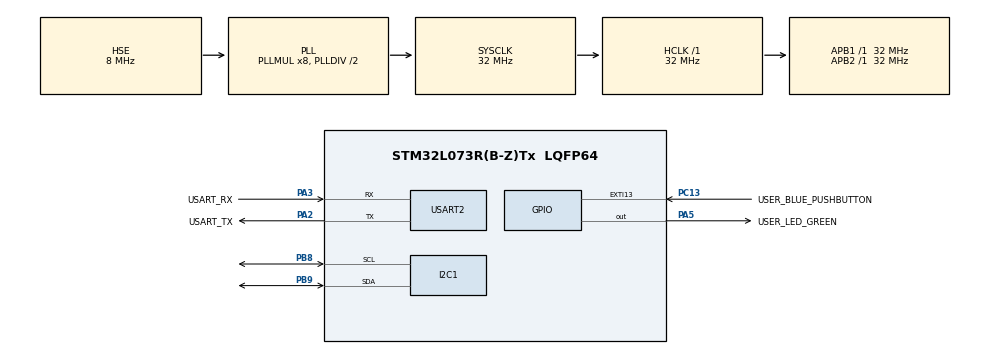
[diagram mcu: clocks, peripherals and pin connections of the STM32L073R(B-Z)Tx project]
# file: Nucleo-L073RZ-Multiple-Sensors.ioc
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I2C1.Timing=0x00707CBB
Mcu.Family=STM32L0
Mcu.Name=STM32L073R(B-Z)Tx
Mcu.Package=LQFP64
NVIC.EXTI4_15_IRQn=true\:0\:0\:false\:false\:true\:true\:true\:true
NVIC.TIM6_DAC_IRQn=true\:0\:0\:false\:false\:true\:true\:true\:true
PA13.GPIO_Label=TMS
PA13.Mode=Serial_Wire
PA13.Signal=SYS_SWDIO
PA14.GPIO_Label=TCK
PA14.Mode=Serial_Wire
PA14.Signal=SYS_SWCLK
PA2.GPIO_Label=USART_TX
PA2.Mode=Asynchronous
PA2.Signal=USART2_TX
PA3.GPIO_Label=USART_RX
PA3.Mode=Asynchronous
PA3.Signal=USART2_RX
PA5.GPIO_Label=USER_LED_GREEN
PA5.Signal=GPIO_Output
PB8.Mode=I2C
PB8.Signal=I2C1_SCL
PB9.Mode=I2C
PB9.Signal=I2C1_SDA
PC13.GPIO_Label=USER_BLUE_PUSHBUTTON
PC13.GPIO_ModeDefaultEXTI=GPIO_MODE_IT_FALLING
PC13.Signal=GPXTI13
PC14-OSC32_IN.Mode=LSE-External-Oscillator
PC14-OSC32_IN.Signal=RCC_OSC32_IN
PC15-OSC32_OUT.Mode=LSE-External-Oscillator
PC15-OSC32_OUT.Signal=RCC_OSC32_OUT
PH0-OSC_IN.GPIO_Label=MCO
PH0-OSC_IN.Mode=HSE-External-Clock-Source
PH0-OSC_IN.Signal=RCC_OSC_IN
ProjectManager.HeapSize=0x200
ProjectManager.StackSize=0x400
ProjectManager.TargetToolchain=STM32CubeIDE
RCC.AHBFreq_Value=32000000
RCC.APB1Freq_Value=32000000
RCC.APB1TimFreq_Value=32000000
RCC.APB2Freq_Value=32000000
RCC.APB2TimFreq_Value=32000000
RCC.HCLKFreq_Value=32000000
RCC.HSE_VALUE=8000000
RCC.HSI16_VALUE=16000000
RCC.HSI48_VALUE=48000000
RCC.HSI_VALUE=16000000
RCC.MSI_VALUE=2097000
RCC.PLLMUL=RCC_PLLMUL_8
RCC.PLLSourceVirtual=RCC_PLLSOURCE_HSE
RCC.SYSCLKFreq_VALUE=32000000
RCC.SYSCLKSource=RCC_SYSCLKSOURCE_PLLCLK
RCC.VCOOutputFreq_Value=64000000
TIM6.AutoReloadPreload=TIM_AUTORELOAD_PRELOAD_ENABLE
TIM6.Period=32000 - 1
TIM6.Prescaler=250 - 1
USART2.VirtualMode-Asynchronous=VM_ASYNC
VP_TIM6_VS_ClockSourceINT.Mode=Enable_Timer
board=NUCLEO-L073RZ

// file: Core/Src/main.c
/* USER CODE BEGIN Header */
/**
  ******************************************************************************
  * @file           : main.c
  * @brief          : Main program body
  ******************************************************************************
  * @attention
  *
  * Copyright (c) 2023 STMicroelectronics.
  * All rights reserved.
  *
  * This software is licensed under terms that can be found in the LICENSE file
  * in the root directory of this software component.
  * If no LICENSE file comes with this software, it is provided AS-IS.
  *
  ******************************************************************************
  */
/* USER CODE END Header */
#include "main.h"

/* USER CODE BEGIN Includes */
/*std libs*/
#include "stdbool.h"
#include "stdio.h"

/*refer https://github.com/afiskon/stm32-ssd1306*/
#include "ssd1306.h"
#include "ssd1306_fonts.h"

/*refer https://github.com/ciastkolog/BMP280_STM32*/
#include "bmp280.h"

/* USER CODE END Includes */

I2C_HandleTypeDef hi2c1;

TIM_HandleTypeDef htim6;

UART_HandleTypeDef huart2;

/* USER CODE BEGIN PV */
bool change_font = false;
bool enable_bmp280 = true;
bool update_screen_bmp280 = false;
/* USER CODE END PV */

void SystemClock_Config(void);
static void MX_GPIO_Init(void);
static void MX_USART2_UART_Init(void);
static void MX_I2C1_Init(void);
static void MX_TIM6_Init(void);

int main(void)
{
  /* USER CODE BEGIN 1 */
	char currentString[256] = "Hello World!";
	char retChar=0;
  /* USER CODE END 1 */

  /* MCU Configuration--------------------------------------------------------*/

  /* Reset of all peripherals, Initializes the Flash interface and the Systick. */
  HAL_Init();

  /* Configure the system clock */
  SystemClock_Config();

  /* Initialize all configured peripherals */
  MX_GPIO_Init();
  MX_USART2_UART_Init();
  MX_I2C1_Init();
  MX_TIM6_Init();
  /* USER CODE BEGIN 2 */
  /* Peripherals */
  HAL_TIM_Base_Start_IT(&htim6);

  /* BMP280 */
  BMP280_HandleTypedef bmp280_handle;
  bmp280_handle.i2c = &hi2c1;
  bmp280_handle.addr = BMP280_I2C_ADDRESS_0;

  bmp280_init_default_params(&bmp280_handle.params);
  bool bmp280_works = false;
  bmp280_works = bmp280_init(&bmp280_handle, &bmp280_handle.params);

  /*OLED*/
  ssd1306_Init();
//  ssd1306_Fill(White);
//  ssd1306_UpdateScreen();
  ssd1306_SetCursor(0, 0);
  retChar = ssd1306_WriteString("Please press the blue button!", Font_6x8, White);
  ssd1306_SetCursor(0, 8);
  retChar = ssd1306_WriteString("button!", Font_6x8, White);
  ssd1306_UpdateScreen();
  /* USER CODE END 2 */

  /* Infinite loop */
  /* USER CODE BEGIN WHILE */
  uint8_t a = 0;

  uint32_t humidity = 0;
  uint32_t temperature_celsius_times_100 = 0; 	// Temperature in degrees Celsius times 100.
  uint32_t pressure_pascal = 0; 				// Pressure in Pascals in fixed point 24 bit integer 8 bit fraction format.
  uint32_t humidity_old = 0;
  uint32_t temperature_celsius_times_100_old = 0; 	// Temperature in degrees Celsius times 100.
  uint32_t pressure_pascal_old = 0; 				// Pressure in Pascals in fixed point 24 bit integer 8 bit fraction format.
  uint32_t temperature_update_thresold = 0;
  uint32_t bmp280_measurements = 0;

  FontDef* current_font = &Font_16x24;
  while (1)
  {
	  HAL_GPIO_TogglePin(USER_LED_GREEN_GPIO_Port , USER_LED_GREEN_Pin);

	  if(change_font){
		  change_font = false;

		  ssd1306_SetCursor(0, 0);
		  ssd1306_Fill(Black);
		  switch (a++) {
				case 0:
					current_font = &Font_6x8;
					break;
				case 1:
					current_font = &Font_7x10;
					break;
				case 2:
					current_font = &Font_11x18;
					break;
				case 3:
					current_font = &Font_16x24;
					break;
				case 4:
					current_font = &Font_16x26;
					break;
				default:
					ssd1306_Fill(White);
					a=0;
					break;
			}
		  ssd1306_WriteString(currentString, *current_font, White);
		  ssd1306_UpdateScreen();
	  }

	  if(enable_bmp280){
		  if(! bmp280_is_measuring(&bmp280_handle)){
			  enable_bmp280 = false;

			  temperature_celsius_times_100_old = temperature_celsius_times_100;
			  bmp280_read_fixed(&bmp280_handle, &temperature_celsius_times_100, &pressure_pascal, &humidity);
			  bmp280_measurements++;

			  if((temperature_celsius_times_100 < temperature_celsius_times_100_old - temperature_update_thresold) || (temperature_celsius_times_100 > temperature_celsius_times_100_old + temperature_update_thresold)){
				  update_screen_bmp280 = true;
			  }
		  }
	  }

	  if(update_screen_bmp280){
		  //update_screen_bmp280 = false;
		  uint32_t integer = temperature_celsius_times_100 / 100;
		  uint32_t decimal = temperature_celsius_times_100 % 100;
		  sprintf(currentString, "%lu.%lu *C", integer, decimal);

		  ssd1306_SetCursor(0, 0);

		  retChar = ssd1306_WriteString(currentString, *current_font, White);
		  ssd1306_UpdateScreen();
	  }

    /* USER CODE END WHILE */

  }
}

void SystemClock_Config(void)
{
  RCC_OscInitTypeDef RCC_OscInitStruct = {0};
  RCC_ClkInitTypeDef RCC_ClkInitStruct = {0};
  RCC_PeriphCLKInitTypeDef PeriphClkInit = {0};

  /** Configure the main internal regulator output voltage
  */
  __HAL_PWR_VOLTAGESCALING_CONFIG(PWR_REGULATOR_VOLTAGE_SCALE1);

  /** Initializes the RCC Oscillators according to the specified parameters
  * in the RCC_OscInitTypeDef structure.
  */
  RCC_OscInitStruct.OscillatorType = RCC_OSCILLATORTYPE_HSE;
  RCC_OscInitStruct.HSEState = RCC_HSE_BYPASS;
  RCC_OscInitStruct.PLL.PLLState = RCC_PLL_ON;
  RCC_OscInitStruct.PLL.PLLSource = RCC_PLLSOURCE_HSE;
  RCC_OscInitStruct.PLL.PLLMUL = RCC_PLLMUL_8;
  RCC_OscInitStruct.PLL.PLLDIV = RCC_PLLDIV_2;
  if (HAL_RCC_OscConfig(&RCC_OscInitStruct) != HAL_OK)
  {
    Error_Handler();
  }

  /** Initializes the CPU, AHB and APB buses clocks
  */
  RCC_ClkInitStruct.ClockType = RCC_CLOCKTYPE_HCLK|RCC_CLOCKTYPE_SYSCLK
                              |RCC_CLOCKTYPE_PCLK1|RCC_CLOCKTYPE_PCLK2;
  RCC_ClkInitStruct.SYSCLKSource = RCC_SYSCLKSOURCE_PLLCLK;
  RCC_ClkInitStruct.AHBCLKDivider = RCC_SYSCLK_DIV1;
  RCC_ClkInitStruct.APB1CLKDivider = RCC_HCLK_DIV1;
  RCC_ClkInitStruct.APB2CLKDivider = RCC_HCLK_DIV1;

  if (HAL_RCC_ClockConfig(&RCC_ClkInitStruct, FLASH_LATENCY_1) != HAL_OK)
  {
    Error_Handler();
  }
  PeriphClkInit.PeriphClockSelection = RCC_PERIPHCLK_USART2|RCC_PERIPHCLK_I2C1;
  PeriphClkInit.Usart2ClockSelection = RCC_USART2CLKSOURCE_PCLK1;
  PeriphClkInit.I2c1ClockSelection = RCC_I2C1CLKSOURCE_PCLK1;
  if (HAL_RCCEx_PeriphCLKConfig(&PeriphClkInit) != HAL_OK)
  {
    Error_Handler();
  }
}

static void MX_I2C1_Init(void)
{

  hi2c1.Instance = I2C1;
  hi2c1.Init.Timing = 0x00707CBB;
  hi2c1.Init.OwnAddress1 = 0;
  hi2c1.Init.AddressingMode = I2C_ADDRESSINGMODE_7BIT;
  hi2c1.Init.DualAddressMode = I2C_DUALADDRESS_DISABLE;
  hi2c1.Init.OwnAddress2 = 0;
  hi2c1.Init.OwnAddress2Masks = I2C_OA2_NOMASK;
  hi2c1.Init.GeneralCallMode = I2C_GENERALCALL_DISABLE;
  hi2c1.Init.NoStretchMode = I2C_NOSTRETCH_DISABLE;
  if (HAL_I2C_Init(&hi2c1) != HAL_OK)
  {
    Error_Handler();
  }

  /** Configure Analogue filter
  */
  if (HAL_I2CEx_ConfigAnalogFilter(&hi2c1, I2C_ANALOGFILTER_ENABLE) != HAL_OK)
  {
    Error_Handler();
  }

  /** Configure Digital filter
  */
  if (HAL_I2CEx_ConfigDigitalFilter(&hi2c1, 0) != HAL_OK)
  {
    Error_Handler();
  }

}

static void MX_TIM6_Init(void)
{

  TIM_MasterConfigTypeDef sMasterConfig = {0};

  htim6.Instance = TIM6;
  htim6.Init.Prescaler = 250 - 1;
  htim6.Init.CounterMode = TIM_COUNTERMODE_UP;
  htim6.Init.Period = 32000 - 1;
  htim6.Init.AutoReloadPreload = TIM_AUTORELOAD_PRELOAD_ENABLE;
  if (HAL_TIM_Base_Init(&htim6) != HAL_OK)
  {
    Error_Handler();
  }
  sMasterConfig.MasterOutputTrigger = TIM_TRGO_RESET;
  sMasterConfig.MasterSlaveMode = TIM_MASTERSLAVEMODE_DISABLE;
  if (HAL_TIMEx_MasterConfigSynchronization(&htim6, &sMasterConfig) != HAL_OK)
  {
    Error_Handler();
  }

}

static void MX_USART2_UART_Init(void)
{

  huart2.Instance = USART2;
  huart2.Init.BaudRate = 115200;
  huart2.Init.WordLength = UART_WORDLENGTH_8B;
  huart2.Init.StopBits = UART_STOPBITS_1;
  huart2.Init.Parity = UART_PARITY_NONE;
  huart2.Init.Mode = UART_MODE_TX_RX;
  huart2.Init.HwFlowCtl = UART_HWCONTROL_NONE;
  huart2.Init.OverSampling = UART_OVERSAMPLING_16;
  huart2.Init.OneBitSampling = UART_ONE_BIT_SAMPLE_DISABLE;
  huart2.AdvancedInit.AdvFeatureInit = UART_ADVFEATURE_NO_INIT;
  if (HAL_UART_Init(&huart2) != HAL_OK)
  {
    Error_Handler();
  }

}

static void MX_GPIO_Init(void)
{
  GPIO_InitTypeDef GPIO_InitStruct = {0};

  /* GPIO Ports Clock Enable */
  __HAL_RCC_GPIOC_CLK_ENABLE();
  __HAL_RCC_GPIOH_CLK_ENABLE();
  __HAL_RCC_GPIOA_CLK_ENABLE();
  __HAL_RCC_GPIOB_CLK_ENABLE();

  /*Configure GPIO pin Output Level */
  HAL_GPIO_WritePin(USER_LED_GREEN_GPIO_Port, USER_LED_GREEN_Pin, GPIO_PIN_RESET);

  /*Configure GPIO pin : USER_BLUE_PUSHBUTTON_Pin */
  GPIO_InitStruct.Pin = USER_BLUE_PUSHBUTTON_Pin;
  GPIO_InitStruct.Mode = GPIO_MODE_IT_FALLING;
  GPIO_InitStruct.Pull = GPIO_NOPULL;
  HAL_GPIO_Init(USER_BLUE_PUSHBUTTON_GPIO_Port, &GPIO_InitStruct);

  /*Configure GPIO pin : USER_LED_GREEN_Pin */
  GPIO_InitStruct.Pin = USER_LED_GREEN_Pin;
  GPIO_InitStruct.Mode = GPIO_MODE_OUTPUT_PP;
  GPIO_InitStruct.Pull = GPIO_NOPULL;
  GPIO_InitStruct.Speed = GPIO_SPEED_FREQ_LOW;
  HAL_GPIO_Init(USER_LED_GREEN_GPIO_Port, &GPIO_InitStruct);

  /* EXTI interrupt init*/
  HAL_NVIC_SetPriority(EXTI4_15_IRQn, 0, 0);
  HAL_NVIC_EnableIRQ(EXTI4_15_IRQn);

}

/* USER CODE BEGIN 4 */
/*!
 * @brief GPIO_PIN is BLUE_PUSH_BUTTON_RESET_RED_LED_Pin: Manual reset switch for the red led.
 *
 * @param GPIO_Pin
 */
void HAL_GPIO_EXTI_Callback(uint16_t GPIO_Pin)
{
  if (GPIO_Pin == USER_BLUE_PUSHBUTTON_Pin)
  {
    change_font = true;
  }
}

void HAL_TIM_PeriodElapsedCallback(TIM_HandleTypeDef *htim){
	if(htim == &htim6){
		enable_bmp280 = true;
	}
}
/* USER CODE END 4 */

void Error_Handler(void)
{
  __disable_irq();
  while (1)
  {
  }
}
